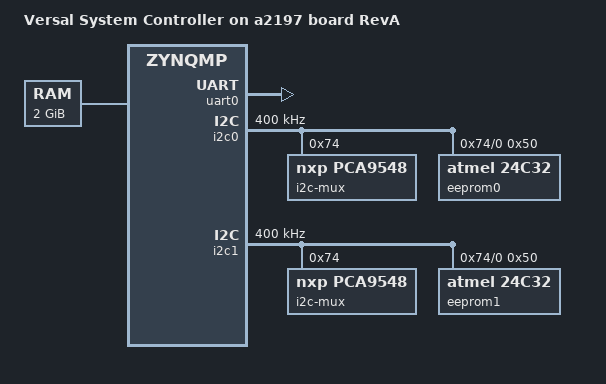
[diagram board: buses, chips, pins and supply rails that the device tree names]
// SPDX-License-Identifier: GPL-2.0
/*
 * dts file for Xilinx Versal a2197 RevA System Controller
 *
 * (C) Copyright 2019, Xilinx, Inc.
 *
 * Michal Simek <michal.simek@xilinx.com>
 */
/dts-v1/;

#include "zynqmp.dtsi"
#include "zynqmp-clk-ccf.dtsi"
#include <dt-bindings/gpio/gpio.h>

/ {
	model = "Versal System Controller on a2197 board RevA";
	compatible = "xlnx,zynqmp-a2197-revA", "xlnx,zynqmp-a2197", "xlnx,zynqmp";

	aliases {
		i2c0 = &i2c0;
		serial0 = &uart0;
	};

	chosen {
		bootargs = "earlycon";
		stdout-path = "serial0:115200n8";
		xlnx,eeprom = <&eeprom1 &eeprom0 &eeprom0>;
	};

	memory@0 {
		device_type = "memory";
		reg = <0x0 0x0 0x0 0x80000000>;
	};
};

&uart0 { /* uart0 MIO38-39 */
	status = "okay";
	u-boot,dm-pre-reloc;
};

&i2c0 {
	status = "okay";
	u-boot,dm-pre-reloc;
	clock-frequency = <400000>;
	i2c-mux@74 { /* this cover MGT board */
		compatible = "nxp,pca9548";
		#address-cells = <1>;
		#size-cells = <0>;
		reg = <0x74>;
		u-boot,dm-pre-reloc;
		/* FIXME reset connected to SYSCTRL_IIC_MUX0_RESET */
		i2c@0 {
			#address-cells = <1>;
			#size-cells = <0>;
			reg = <0>;
			/* Use for storing information about SC board */
			eeprom0: eeprom@50 { /* u96 - 24LC32A - 256B */
				compatible = "atmel,24c32";
				u-boot,dm-pre-reloc;
				reg = <0x50>;
			};
		};
	};
};

&i2c1 {
	status = "okay";
	u-boot,dm-pre-reloc;
	clock-frequency = <400000>;
	i2c-mux@74 { /* This cover processor board */
		compatible = "nxp,pca9548";
		#address-cells = <1>;
		#size-cells = <0>;
		reg = <0x74>;
		u-boot,dm-pre-reloc;
		/* FIXME reset connected to SYSCTRL_IIC_MUX0_RESET */
		i2c@0 {
			#address-cells = <1>;
			#size-cells = <0>;
			reg = <0>;
			/* Use for storing information about SC board */
			eeprom1: eeprom@50 { /* u96 - 24LC32A - 256B */
				compatible = "atmel,24c32";
				u-boot,dm-pre-reloc;
				reg = <0x50>;
			};
		};
	};
};
